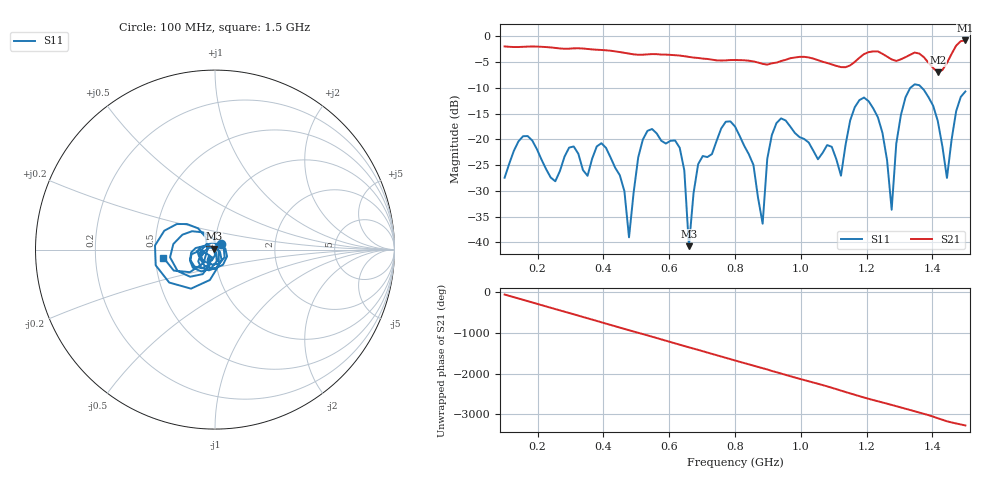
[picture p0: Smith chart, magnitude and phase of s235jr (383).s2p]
! NanoVNA-App
! Date: 2025-09-25 15:07:08
! Start: 100MHz Stop: 1,5GHz Points: 101
! S-Parameter data: F S11 S21 S12 S22
# Hz S RI R 50
!  Frequency  S11_Real  S11_Imag  S21_Real  S21_Imag  S12_Real  S12_Imag  S22_Real  S22_Imag
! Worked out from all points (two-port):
!   101 points, 100 MHz to 1.5 GHz, reference 50 ohm
!   highest |S21| = -0.81 dB at 1.5 GHz (marker M1); lowest = -7.0 dB at 1.416 GHz (marker M2)
!   |S21| within 3 dB of the highest: start of sweep to 639.8 MHz; 1.185 GHz to 1.259 GHz (73.53 MHz wide, 6.02 % of centre) (the widest 2 of 4)
!   lowest |S11| = -40.8 dB at 660 MHz (marker M3), VSWR 1.02, Z = 49.3 + j0.562 ohm
!   |S11| at or under -10 dB: start of sweep to 1.333 GHz; 1.368 GHz to end of sweep
!   S12 and S22 are empty: the file has one direction only
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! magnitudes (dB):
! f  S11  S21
! 100 MHz  -27.5  -2.0
! 156 MHz  -19.4  -2.0
! 338 MHz  -26.0  -2.4
! 408 MHz  -21.7  -2.7
! 478 MHz  -39.0  -3.4
! 520 MHz  -20.1  -3.6
! 576 MHz  -20.3  -3.5
! 632 MHz  -21.7  -3.7
! 660 MHz  -40.8  -4.0
! 688 MHz  -24.8  -4.2
! 800 MHz  -17.5  -4.6
! 884 MHz  -36.4  -5.4
! 926 MHz  -16.9  -5.1
! 1.038 GHz  -22.2  -4.3
! 1.122 GHz  -27.1  -6.0
! 1.192 GHz  -11.9  -3.5
! 1.248 GHz  -18.8  -3.4
! 1.276 GHz  -33.7  -4.5
! 1.332 GHz  -10.1  -3.6
! 1.416 GHz  -16.4  -7.0
! 1.444 GHz  -27.5  -5.2
! 1.5 GHz  -10.7  -0.8
